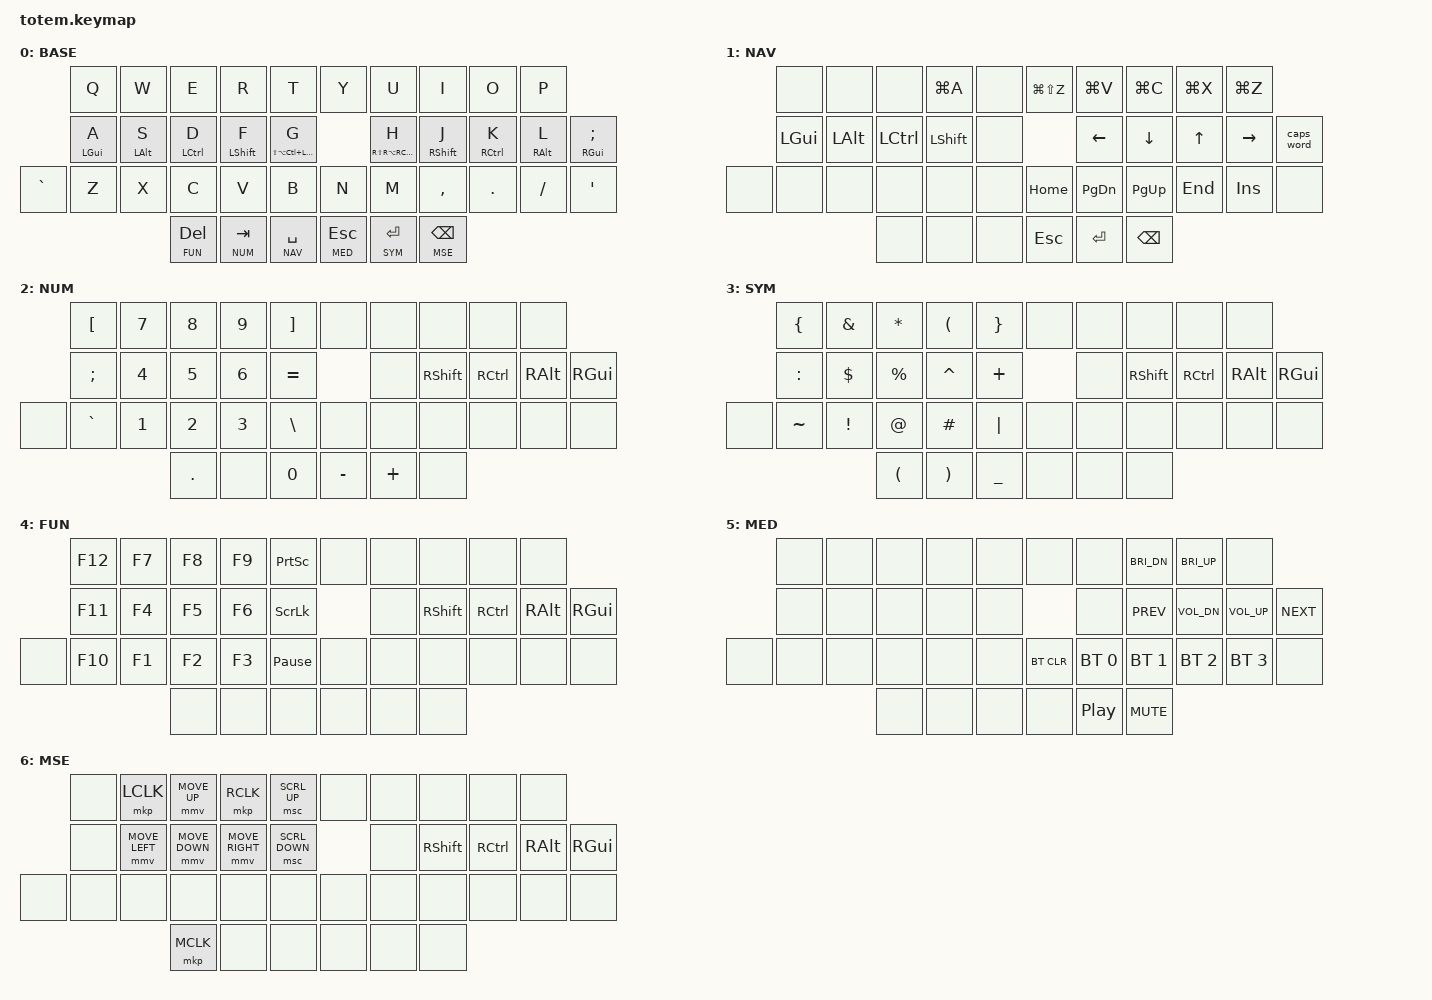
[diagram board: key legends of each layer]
//
//                                                        ▀▀▀▀▀     ▀▀▀▀▀          ▀▀█▀▀
//                                                        ▄▀▀▀▄  ▄  ▄▀▀▀▄  ▄  ▄▀▀▀▄  █  ▄▀▀▀▄
//                                                        █   █  █  █   █  █  █   █  █  █   █
//                                                         ▀▀▀   █   ▀▀▀   █   ▀▀▀   ▀   ▀▀▀
//                                                               █      ▄▄▄█▄▄▄    █   █
//                                                               ▀      █  █  █     █▄█
//                                                             ▀▀▀▀▀    █  █  █      ▀
//                                                                      ▀  ▀  ▀
//
// ▄▄▄▄▄▄▄▄▄▄▄▄▄▄▄▄▄▄▄▄▄▄▄▄▄▄▄▄▄▄▄▄▄▄▄▄▄▄▄▄▄▄▄▄▄▄▄▄▄▄▄▄▄▄▄▄▄▄▄▄▄▄▄▄▄▄▄▄▄▄▄▄▄▄▄▄▄▄▄▄▄▄▄▄▄
//
//  TOTEM — Timeless Bilateral QWERTY
//
//  Based on Miryoku principles + urob's timeless home row mods
//  7 layers: BASE, NAV, NUM, SYM, FUN, MEDIA, MOUSE
//
// ▄▄▄▄▄▄▄▄▄▄▄▄▄▄▄▄▄▄▄▄▄▄▄▄▄▄▄▄▄▄▄▄▄▄▄▄▄▄▄▄▄▄▄▄▄▄▄▄▄▄▄▄▄▄▄▄▄▄▄▄▄▄▄▄▄▄▄▄▄▄▄▄▄▄▄▄▄▄▄▄▄▄▄▄▄

#include <behaviors.dtsi>
#include <dt-bindings/zmk/bt.h>
#include <dt-bindings/zmk/keys.h>
#include <dt-bindings/zmk/pointing.h>

#define BASE 0
#define NAV  1
#define NUM  2
#define SYM  3
#define FUN  4
#define MED  5
#define MSE  6

// ┌──────────────────────────────────────────────────────────┐
// │ Key position groups for bilateral home row mods          │
// │                                                          │
// │     0  1  2  3  4        5  6  7  8  9                   │
// │    10 11 12 13 14       15 16 17 18 19                   │
// │ 20 21 22 23 24 25       26 27 28 29 30 31                │
// │             32 33 34  35 36 37                            │
// └──────────────────────────────────────────────────────────┘

#define KEYS_L 0 1 2 3 4 10 11 12 13 14 20 21 22 23 24 25
#define KEYS_R 5 6 7 8 9 15 16 17 18 19 26 27 28 29 30 31
#define THUMBS 32 33 34 35 36 37

/ {

    // ┌──────────────────────────────────────────────────────────┐
    // │ Timeless bilateral home row mods (urob-style)            │
    // │                                                          │
    // │ - "balanced" flavor: resolves on keypress, not timeout   │
    // │ - require-prior-idle-ms: ignores hold if you were just   │
    // │   typing (prevents misfires on fast QWERTY rolls)        │
    // │ - hold-trigger-key-positions: mod only fires when the    │
    // │   OTHER hand presses a key (bilateral)                   │
    // │ - hold-trigger-on-release: allows layer-tap + HRM combo  │
    // └──────────────────────────────────────────────────────────┘

    behaviors {
        hml: home_row_mod_left {
            compatible = "zmk,behavior-hold-tap";
            #binding-cells = <2>;
            flavor = "balanced";
            tapping-term-ms = <280>;
            quick-tap-ms = <175>;
            require-prior-idle-ms = <150>;
            bindings = <&kp>, <&kp>;
            hold-trigger-key-positions = <KEYS_R THUMBS>;
            hold-trigger-on-release;
        };

        hmr: home_row_mod_right {
            compatible = "zmk,behavior-hold-tap";
            #binding-cells = <2>;
            flavor = "balanced";
            tapping-term-ms = <280>;
            quick-tap-ms = <175>;
            require-prior-idle-ms = <150>;
            bindings = <&kp>, <&kp>;
            hold-trigger-key-positions = <KEYS_L THUMBS>;
            hold-trigger-on-release;
        };
    };

    // ┌──────────────────────────────────────────────────────────┐
    // │ Combos                                                   │
    // └──────────────────────────────────────────────────────────┘

    combos {
        compatible = "zmk,combos";

        // F + J → Caps Word (index fingers, home row)
        capsword {
            bindings = <&caps_word>;
            key-positions = <13 16>;
            timeout-ms = <50>;
        };

        // T + Y → =>  (fat arrow, for JS/TS)
        fat_arrow {
            bindings = <&fat_arrow>;
            key-positions = <4 5>;
            timeout-ms = <30>;
        };

        // B + N → ->  (thin arrow, for Rust/PHP/C)
        thin_arrow {
            bindings = <&thin_arrow>;
            key-positions = <25 26>;
            timeout-ms = <30>;
        };

        // V + M → _  (underscore, common in code)
        underscore {
            bindings = <&kp UNDERSCORE>;
            key-positions = <24 27>;
            timeout-ms = <50>;
        };

        // R + U → -  (minus/dash)
        minus {
            bindings = <&kp MINUS>;
            key-positions = <3 6>;
            timeout-ms = <50>;
        };

        // Q + P → Capslock (переключение языка на macOS)
        caps {
            bindings = <&kp CAPSLOCK>;
            key-positions = <0 9>;
            timeout-ms = <100>;
        };

        // O + P → [ (= Х в русской раскладке)
        ru_ha {
            bindings = <&kp LBKT>;
            key-positions = <8 9>;
            timeout-ms = <50>;
        };

        // P + ' → ] (= Ъ в русской раскладке)
        ru_hard_sign {
            bindings = <&kp RBKT>;
            key-positions = <9 31>;
            timeout-ms = <50>;
        };

        // Tab + Space → Cmd+Tab (переключение приложений)
        app_switch {
            bindings = <&kp LG(TAB)>;
            key-positions = <33 34>;
            timeout-ms = <50>;
        };

        // ` + Z → Cmd+` (переключение окон внутри приложения)
        win_switch {
            bindings = <&kp LG(GRAVE)>;
            key-positions = <20 21>;
            timeout-ms = <50>;
        };

        // Q + W → Cmd+Shift+4 (скриншот области)
        screenshot {
            bindings = <&kp LG(LS(N4))>;
            key-positions = <0 1>;
            timeout-ms = <50>;
        };
    };

    // ┌──────────────────────────────────────────────────────────┐
    // │ Macros                                                   │
    // └──────────────────────────────────────────────────────────┘

    macros {
        fat_arrow: fat_arrow {
            compatible = "zmk,behavior-macro";
            #binding-cells = <0>;
            bindings = <&kp EQUAL &kp GT>;
            label = "FAT_ARROW";
        };

        thin_arrow: thin_arrow {
            compatible = "zmk,behavior-macro";
            #binding-cells = <0>;
            bindings = <&kp MINUS &kp GT>;
            label = "THIN_ARROW";
        };
    };

    // ┌──────────────────────────────────────────────────────────┐
    // │ Keymap                                                   │
    // └──────────────────────────────────────────────────────────┘

    keymap {
        compatible = "zmk,keymap";

        // ┏━━━━━━━━━━━━━━━━━━━━━━━━━━━━━━━━━━━━━━━━━━━━━━━━━━━━━┓
        // ┃ BASE                                                  ┃
        // ┃                                                       ┃
        // ┃          Q      W      E      R      T                ┃
        // ┃         A/GUI  S/ALT  D/CTL  F/SFT   G                ┃
        // ┃   `      Z      X      C      V      B                ┃
        // ┃                     DEL/FUN TAB/NUM SPC/NAV            ┃
        // ┃                                                       ┃
        // ┃          Y      U      I      O      P                ┃
        // ┃          H     J/SFT  K/CTL  L/ALT  ;/GUI             ┃
        // ┃          N      M      ,      .      /      '         ┃
        // ┃                    ESC/MED ENT/SYM BSP/MSE            ┃
        // ┗━━━━━━━━━━━━━━━━━━━━━━━━━━━━━━━━━━━━━━━━━━━━━━━━━━━━━┛

        base_layer {
            label = "BASE";
            bindings = <
                        &kp Q        &kp W        &kp E         &kp R         &kp T               &kp Y        &kp U         &kp I         &kp O        &kp P
                        &hml LGUI A  &hml LALT S  &hml LCTRL D  &hml LSHFT F  &hml LS(LA(LC(LGUI))) G    &hmr RS(RA(RC(RGUI))) H  &hmr RSHFT J  &hmr RCTRL K  &hmr RALT L  &hmr RGUI SEMI
            &kp GRAVE   &kp Z        &kp X        &kp C         &kp V         &kp B               &kp N        &kp M         &kp COMMA     &kp DOT      &kp FSLH        &kp SQT
                                                  &lt FUN DEL   &lt NUM TAB   &lt NAV SPACE        &lt MED ESC  &lt SYM ENTER &lt MSE BSPC
            >;
        };

        // ┏━━━━━━━━━━━━━━━━━━━━━━━━━━━━━━━━━━━━━━━━━━━━━━━━━━━━━┓
        // ┃ NAV — hold Space                                      ┃
        // ┃                                                       ┃
        // ┃ Left hand: mods (for Shift+Arrow, Ctrl+Arrow, etc.)   ┃
        // ┃ Right hand: arrows, Home/End, PgUp/PgDn               ┃
        // ┃ Right top row: clipboard (macOS: Cmd+Z/X/C/V)         ┃
        // ┃                                                       ┃
        // ┃ Text selection: hold Space → hold F(Shift) → arrows   ┃
        // ┃ Word jump: hold Space → hold D(Ctrl) → ← / →         ┃
        // ┃ Word select: hold Space → hold D+F → ← / →           ┃
        // ┗━━━━━━━━━━━━━━━━━━━━━━━━━━━━━━━━━━━━━━━━━━━━━━━━━━━━━┛

        nav_layer {
            label = "NAV";
            bindings = <
                   &none      &none      &none       &kp LG(A)   &none                &kp LG(LS(Z))  &kp LG(V)   &kp LG(C)     &kp LG(X)   &kp LG(Z)
                   &kp LGUI   &kp LALT   &kp LCTRL   &kp LSHFT   &none                &kp LEFT       &kp DOWN    &kp UP        &kp RIGHT   &caps_word
            &none  &none      &none      &none       &none       &none                &kp HOME       &kp PG_DN   &kp PG_UP     &kp END     &kp INS      &none
                                         &none       &none       &none                &kp ESC        &kp ENTER   &kp BSPC
            >;
        };

        // ┏━━━━━━━━━━━━━━━━━━━━━━━━━━━━━━━━━━━━━━━━━━━━━━━━━━━━━┓
        // ┃ NUM — hold Tab                                        ┃
        // ┃                                                       ┃
        // ┃ Left hand: numpad layout (7-8-9 top, 1-2-3 bottom)    ┃
        // ┃ Right hand: mods (for Ctrl+1, Shift+5, etc.)          ┃
        // ┃ Surrounding keys: [ ] = \ ` ; (math/code context)     ┃
        // ┗━━━━━━━━━━━━━━━━━━━━━━━━━━━━━━━━━━━━━━━━━━━━━━━━━━━━━┛

        num_layer {
            label = "NUM";
            bindings = <
                   &kp LBKT   &kp N7     &kp N8      &kp N9      &kp RBKT             &none        &none         &none         &none        &none
                   &kp SEMI   &kp N4     &kp N5      &kp N6      &kp EQUAL            &none        &kp RSHFT     &kp RCTRL     &kp RALT     &kp RGUI
            &none  &kp GRAVE  &kp N1     &kp N2      &kp N3      &kp BSLH             &none        &none         &none         &none        &none        &none
                                         &kp DOT     &none       &kp N0               &kp MINUS    &kp PLUS      &none
            >;
        };

        // ┏━━━━━━━━━━━━━━━━━━━━━━━━━━━━━━━━━━━━━━━━━━━━━━━━━━━━━┓
        // ┃ SYM — hold Enter                                      ┃
        // ┃                                                       ┃
        // ┃ Mirrors NUM positions: [ → {, 1 → !, 7 → &, etc.     ┃
        // ┃ One spatial map for both layers.                       ┃
        // ┃ Right hand: mods                                      ┃
        // ┗━━━━━━━━━━━━━━━━━━━━━━━━━━━━━━━━━━━━━━━━━━━━━━━━━━━━━┛

        sym_layer {
            label = "SYM";
            bindings = <
                   &kp LBRC   &kp AMPS   &kp ASTRK   &kp LPAR    &kp RBRC             &none        &none         &none         &none        &none
                   &kp COLON  &kp DLLR   &kp PRCNT   &kp CARET   &kp PLUS             &none        &kp RSHFT     &kp RCTRL     &kp RALT     &kp RGUI
            &none  &kp TILDE  &kp EXCL   &kp AT      &kp HASH    &kp PIPE             &none        &none         &none         &none        &none        &none
                                         &kp LPAR    &kp RPAR    &kp UNDER            &none        &none         &none
            >;
        };

        // ┏━━━━━━━━━━━━━━━━━━━━━━━━━━━━━━━━━━━━━━━━━━━━━━━━━━━━━┓
        // ┃ FUN — hold Del                                        ┃
        // ┃                                                       ┃
        // ┃ F-keys in numpad layout (F7-F8-F9 top, F1-F2-F3 bot)  ┃
        // ┃ Right hand: mods (for Ctrl+F5, Shift+F6, etc.)        ┃
        // ┗━━━━━━━━━━━━━━━━━━━━━━━━━━━━━━━━━━━━━━━━━━━━━━━━━━━━━┛

        fun_layer {
            label = "FUN";
            bindings = <
                   &kp F12    &kp F7     &kp F8      &kp F9      &kp PSCRN            &none        &none         &none         &none        &none
                   &kp F11    &kp F4     &kp F5      &kp F6      &kp SLCK             &none        &kp RSHFT     &kp RCTRL     &kp RALT     &kp RGUI
            &none  &kp F10    &kp F1     &kp F2      &kp F3      &kp PAUSE_BREAK      &none        &none         &none         &none        &none        &none
                                         &none       &none       &none                &none        &none         &none
            >;
        };

        // ┏━━━━━━━━━━━━━━━━━━━━━━━━━━━━━━━━━━━━━━━━━━━━━━━━━━━━━┓
        // ┃ MEDIA — hold Esc                                      ┃
        // ┃                                                       ┃
        // ┃ Right hand: media controls + Bluetooth profiles        ┃
        // ┗━━━━━━━━━━━━━━━━━━━━━━━━━━━━━━━━━━━━━━━━━━━━━━━━━━━━━┛

        med_layer {
            label = "MED";
            bindings = <
                   &none      &none      &none       &none       &none                &none        &none          &kp C_BRI_DN  &kp C_BRI_UP &none
                   &none      &none      &none       &none       &none                &none        &kp C_PREV     &kp C_VOL_DN  &kp C_VOL_UP &kp C_NEXT
            &none  &none      &none      &none       &none       &none                &bt BT_CLR   &bt BT_SEL 0   &bt BT_SEL 1  &bt BT_SEL 2 &bt BT_SEL 3  &none
                                         &none       &none       &none                &none        &kp C_PP       &kp C_MUTE
            >;
        };

        // ┏━━━━━━━━━━━━━━━━━━━━━━━━━━━━━━━━━━━━━━━━━━━━━━━━━━━━━┓
        // ┃ MOUSE — hold Backspace                                ┃
        // ┃                                                       ┃
        // ┃ Left hand: mouse movement (WASD-style) + clicks       ┃
        // ┃ Right hand: mods (for Ctrl+click, etc.)               ┃
        // ┗━━━━━━━━━━━━━━━━━━━━━━━━━━━━━━━━━━━━━━━━━━━━━━━━━━━━━┛

        mse_layer {
            label = "MSE";
            bindings = <
                   &none      &mkp LCLK        &mmv MOVE_UP    &mkp RCLK        &msc SCRL_UP       &none  &none      &none      &none     &none
                   &none      &mmv MOVE_LEFT   &mmv MOVE_DOWN  &mmv MOVE_RIGHT  &msc SCRL_DOWN     &none  &kp RSHFT  &kp RCTRL  &kp RALT  &kp RGUI
            &none  &none      &none            &none           &none            &none              &none  &none      &none      &none     &none      &none
                                               &mkp MCLK       &none           &none              &none  &none      &none
            >;
        };
    };
};
